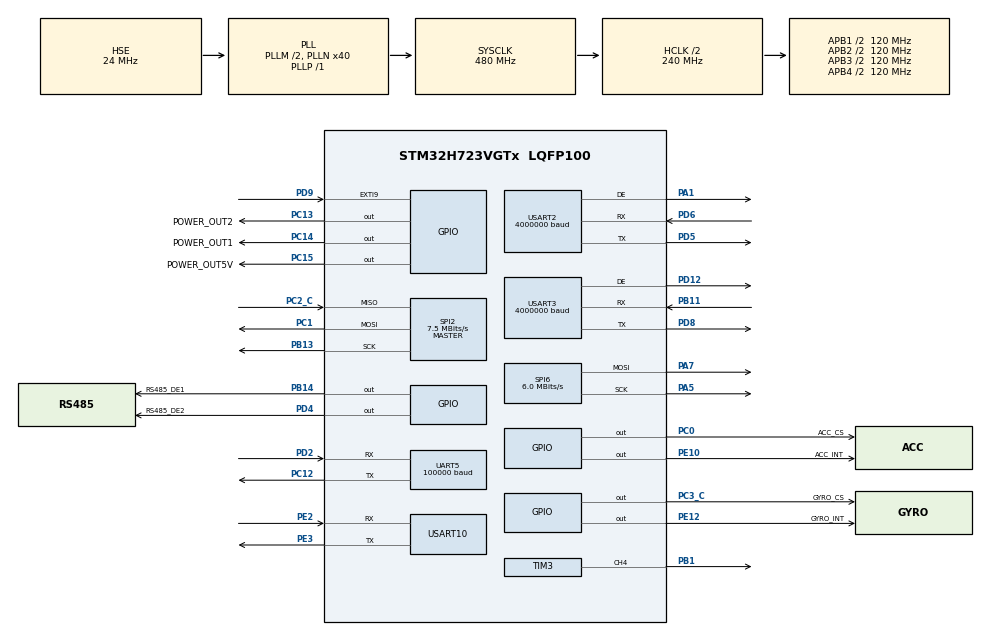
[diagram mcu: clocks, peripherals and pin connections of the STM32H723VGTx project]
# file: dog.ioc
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CORTEX_M7.default_mode_Activation=1
Dma.Request0=USART10_RX
Dma.Request1=SPI2_RX
Dma.Request2=SPI2_TX
Dma.Request3=UART5_RX
Dma.SPI2_RX.1.Direction=DMA_PERIPH_TO_MEMORY
Dma.SPI2_RX.1.EventEnable=DISABLE
Dma.SPI2_RX.1.FIFOMode=DMA_FIFOMODE_DISABLE
Dma.SPI2_RX.1.Instance=DMA1_Stream0
Dma.SPI2_RX.1.MemDataAlignment=DMA_MDATAALIGN_BYTE
Dma.SPI2_RX.1.MemInc=DMA_MINC_ENABLE
Dma.SPI2_RX.1.Mode=DMA_NORMAL
Dma.SPI2_RX.1.PeriphDataAlignment=DMA_PDATAALIGN_BYTE
Dma.SPI2_RX.1.PeriphInc=DMA_PINC_DISABLE
Dma.SPI2_RX.1.Polarity=HAL_DMAMUX_REQ_GEN_RISING
Dma.SPI2_RX.1.Priority=DMA_PRIORITY_VERY_HIGH
Dma.SPI2_RX.1.RequestNumber=1
Dma.SPI2_RX.1.SignalID=NONE
Dma.SPI2_RX.1.SyncEnable=DISABLE
Dma.SPI2_RX.1.SyncPolarity=HAL_DMAMUX_SYNC_NO_EVENT
Dma.SPI2_RX.1.SyncRequestNumber=1
Dma.SPI2_RX.1.SyncSignalID=NONE
Dma.SPI2_TX.2.Direction=DMA_MEMORY_TO_PERIPH
Dma.SPI2_TX.2.EventEnable=DISABLE
Dma.SPI2_TX.2.FIFOMode=DMA_FIFOMODE_DISABLE
Dma.SPI2_TX.2.Instance=DMA1_Stream1
Dma.SPI2_TX.2.MemDataAlignment=DMA_MDATAALIGN_BYTE
Dma.SPI2_TX.2.MemInc=DMA_MINC_ENABLE
Dma.SPI2_TX.2.Mode=DMA_NORMAL
Dma.SPI2_TX.2.PeriphDataAlignment=DMA_PDATAALIGN_BYTE
Dma.SPI2_TX.2.PeriphInc=DMA_PINC_DISABLE
Dma.SPI2_TX.2.Polarity=HAL_DMAMUX_REQ_GEN_RISING
Dma.SPI2_TX.2.Priority=DMA_PRIORITY_HIGH
Dma.SPI2_TX.2.RequestNumber=1
Dma.SPI2_TX.2.SignalID=NONE
Dma.SPI2_TX.2.SyncEnable=DISABLE
Dma.SPI2_TX.2.SyncPolarity=HAL_DMAMUX_SYNC_NO_EVENT
Dma.SPI2_TX.2.SyncRequestNumber=1
Dma.SPI2_TX.2.SyncSignalID=NONE
Dma.UART5_RX.3.Direction=DMA_PERIPH_TO_MEMORY
Dma.UART5_RX.3.EventEnable=DISABLE
Dma.UART5_RX.3.FIFOMode=DMA_FIFOMODE_DISABLE
Dma.UART5_RX.3.Instance=DMA1_Stream2
Dma.UART5_RX.3.MemDataAlignment=DMA_MDATAALIGN_BYTE
Dma.UART5_RX.3.MemInc=DMA_MINC_ENABLE
Dma.UART5_RX.3.Mode=DMA_CIRCULAR
Dma.UART5_RX.3.PeriphDataAlignment=DMA_PDATAALIGN_BYTE
Dma.UART5_RX.3.PeriphInc=DMA_PINC_DISABLE
Dma.UART5_RX.3.Polarity=HAL_DMAMUX_REQ_GEN_RISING
Dma.UART5_RX.3.Priority=DMA_PRIORITY_VERY_HIGH
Dma.UART5_RX.3.RequestNumber=1
Dma.UART5_RX.3.SignalID=NONE
Dma.UART5_RX.3.SyncEnable=DISABLE
Dma.UART5_RX.3.SyncPolarity=HAL_DMAMUX_SYNC_NO_EVENT
Dma.UART5_RX.3.SyncRequestNumber=1
Dma.UART5_RX.3.SyncSignalID=NONE
Dma.USART10_RX.0.Direction=DMA_PERIPH_TO_MEMORY
Dma.USART10_RX.0.EventEnable=DISABLE
Dma.USART10_RX.0.FIFOMode=DMA_FIFOMODE_DISABLE
Dma.USART10_RX.0.Instance=DMA1_Stream4
Dma.USART10_RX.0.MemDataAlignment=DMA_MDATAALIGN_BYTE
Dma.USART10_RX.0.MemInc=DMA_MINC_ENABLE
Dma.USART10_RX.0.Mode=DMA_NORMAL
Dma.USART10_RX.0.PeriphDataAlignment=DMA_PDATAALIGN_BYTE
Dma.USART10_RX.0.PeriphInc=DMA_PINC_DISABLE
Dma.USART10_RX.0.Polarity=HAL_DMAMUX_REQ_GEN_RISING
Dma.USART10_RX.0.Priority=DMA_PRIORITY_VERY_HIGH
Dma.USART10_RX.0.RequestNumber=1
Dma.USART10_RX.0.SignalID=NONE
Dma.USART10_RX.0.SyncEnable=DISABLE
Dma.USART10_RX.0.SyncPolarity=HAL_DMAMUX_SYNC_NO_EVENT
Dma.USART10_RX.0.SyncRequestNumber=1
Dma.USART10_RX.0.SyncSignalID=NONE
FREERTOS.BinarySemaphores01=imuBinarySem01,Static,imuBinarySem01ControlBlock,Available
FREERTOS.Tasks01=defaultTask,0,128,StartDefaultTask,Default,NULL,Dynamic,NULL,NULL;Motor_Task,2,128,FMotor_Task,As weak,NULL,Dynamic,NULL,NULL;IMU_Task,2,128,FIMU_Task,As weak,NULL,Static,IMU_TaskBuffer,IMU_TaskControlBlock;Start_Task,2,128,FStart_Task,As weak,NULL,Dynamic,NULL,NULL
Mcu.Family=STM32H7
Mcu.Name=STM32H723VGTx
Mcu.Package=LQFP100
NVIC.DMA1_Stream0_IRQn=true\:5\:0\:false\:false\:true\:true\:false\:true\:true
NVIC.DMA1_Stream1_IRQn=true\:5\:0\:false\:false\:true\:true\:false\:true\:true
NVIC.DMA1_Stream2_IRQn=true\:5\:0\:false\:false\:true\:true\:false\:true\:true
NVIC.DMA1_Stream4_IRQn=true\:5\:0\:false\:false\:true\:true\:false\:true\:true
NVIC.PriorityGroup=NVIC_PRIORITYGROUP_4
NVIC.SPI2_IRQn=true\:5\:0\:true\:false\:true\:true\:false\:true\:true
NVIC.TIM2_IRQn=true\:5\:0\:false\:false\:true\:true\:true\:true\:true
NVIC.TIM6_DAC_IRQn=true\:15\:0\:false\:false\:true\:false\:false\:true\:true
NVIC.TimeBase=TIM6_DAC_IRQn
NVIC.TimeBaseIP=TIM6
NVIC.UART5_IRQn=true\:5\:0\:false\:false\:true\:true\:true\:true\:true
NVIC.USART2_IRQn=true\:5\:0\:false\:false\:true\:true\:true\:true\:true
NVIC.USART3_IRQn=true\:5\:0\:false\:false\:true\:true\:false\:true\:true
PA1.Mode=Hardware Flow Control (RS485)
PA1.Signal=USART2_DE
PA13(JTMS/SWDIO).Mode=Serial_Wire
PA13(JTMS/SWDIO).Signal=DEBUG_JTMS-SWDIO
PA14(JTCK/SWCLK).Mode=Serial_Wire
PA14(JTCK/SWCLK).Signal=DEBUG_JTCK-SWCLK
PA5.GPIO_Speed=GPIO_SPEED_FREQ_VERY_HIGH
PA5.Mode=TX_Only_Simplex_Unidirect_Master
PA5.Signal=SPI6_SCK
PA7.GPIO_Speed=GPIO_SPEED_FREQ_VERY_HIGH
PA7.Mode=TX_Only_Simplex_Unidirect_Master
PA7.Signal=SPI6_MOSI
PB1.Signal=S_TIM3_CH4
PB11.Mode=Asynchronous
PB11.Signal=USART3_RX
PB13.GPIO_Speed=GPIO_SPEED_FREQ_VERY_HIGH
PB13.Mode=Full_Duplex_Master
PB13.Signal=SPI2_SCK
PB14.GPIO_Label=RS485_DE1
PB14.Signal=GPIO_Output
PC0.GPIO_Label=ACC_CS
PC0.Signal=GPIO_Output
PC1.GPIO_Speed=GPIO_SPEED_FREQ_VERY_HIGH
PC1.Mode=Full_Duplex_Master
PC1.Signal=SPI2_MOSI
PC12.Mode=Asynchronous
PC12.Signal=UART5_TX
PC13.GPIO_Label=POWER_OUT2
PC13.PinState=GPIO_PIN_SET
PC13.Signal=GPIO_Output
PC14-OSC32_IN.GPIO_Label=POWER_OUT1
PC14-OSC32_IN.PinState=GPIO_PIN_SET
PC14-OSC32_IN.Signal=GPIO_Output
PC15-OSC32_OUT.GPIO_Label=POWER_OUT5V
PC15-OSC32_OUT.PinState=GPIO_PIN_SET
PC15-OSC32_OUT.Signal=GPIO_Output
PC2_C.GPIO_Speed=GPIO_SPEED_FREQ_VERY_HIGH
PC2_C.Mode=Full_Duplex_Master
PC2_C.Signal=SPI2_MISO
PC3_C.GPIO_Label=GYRO_CS
PC3_C.Signal=GPIO_Output
PD12.Mode=Hardware Flow Control (RS485)
PD12.Signal=USART3_DE
PD2.Mode=Asynchronous
PD2.Signal=UART5_RX
PD4.GPIO_Label=RS485_DE2
PD4.Signal=GPIO_Output
PD5.Mode=Asynchronous
PD5.Signal=USART2_TX
PD6.Mode=Asynchronous
PD6.Signal=USART2_RX
PD8.Mode=Asynchronous
PD8.Signal=USART3_TX
PD9.Signal=GPXTI9
PE10.GPIO_Label=ACC_INT
PE10.Signal=GPIO_Output
PE12.GPIO_Label=GYRO_INT
PE12.Signal=GPIO_Output
PE2.Mode=Asynchronous
PE2.Signal=USART10_RX
PE3.Mode=Asynchronous
PE3.Signal=USART10_TX
PH0-OSC_IN.Mode=HSE-External-Oscillator
PH0-OSC_IN.Signal=RCC_OSC_IN
PH1-OSC_OUT.Mode=HSE-External-Oscillator
PH1-OSC_OUT.Signal=RCC_OSC_OUT
ProjectManager.HeapSize=0x200
ProjectManager.StackSize=0x400
ProjectManager.TargetToolchain=MDK-ARM V5.32
RCC.ADCFreq_Value=48375000
RCC.APB1Freq_Value=120000000
RCC.APB2Freq_Value=120000000
RCC.APB3Freq_Value=120000000
RCC.APB4Freq_Value=120000000
RCC.CortexFreq_Value=480000000
RCC.D1PPRE=RCC_APB3_DIV2
RCC.D2PPRE1=RCC_APB1_DIV2
RCC.D2PPRE2=RCC_APB2_DIV2
RCC.D3PPRE=RCC_APB4_DIV2
RCC.DIVM1=2
RCC.DIVN1=40
RCC.DIVP1=1
RCC.HCLKFreq_Value=240000000
RCC.HPRE=RCC_HCLK_DIV2
RCC.HSE_VALUE=24000000
RCC.PLL2FRACN=0
RCC.PLL3FRACN=0
RCC.PLLFRACN=0
RCC.PLLSourceVirtual=RCC_PLLSOURCE_HSE
RCC.SPI6CLockSelection=RCC_SPI6CLKSOURCE_HSE
RCC.SYSCLKFreq_VALUE=480000000
RCC.SYSCLKSource=RCC_SYSCLKSOURCE_PLLCLK
RCC.USBFreq_Value=240000000
SH.S_TIM3_CH4.0=TIM3_CH4,PWM Generation4 CH4
SPI2.BaudRatePrescaler=SPI_BAUDRATEPRESCALER_32
SPI2.CLKPhase=SPI_PHASE_2EDGE
SPI2.CLKPolarity=SPI_POLARITY_HIGH
SPI2.CalculateBaudRate=7.5 MBits/s
SPI2.DataSize=SPI_DATASIZE_8BIT
SPI2.Direction=SPI_DIRECTION_2LINES
SPI2.Mode=SPI_MODE_MASTER
SPI2.VirtualType=VM_MASTER
SPI6.BaudRatePrescaler=SPI_BAUDRATEPRESCALER_4
SPI6.CLKPhase=SPI_PHASE_2EDGE
SPI6.CLKPolarity=SPI_POLARITY_HIGH
SPI6.CalculateBaudRate=6.0 MBits/s
SPI6.DataSize=SPI_DATASIZE_8BIT
SPI6.Direction=SPI_DIRECTION_2LINES_TXONLY
SPI6.Mode=SPI_MODE_MASTER
SPI6.VirtualType=VM_MASTER
STMicroelectronics.X-CUBE-ALGOBUILD.1.4.0.LibraryCcDSPOoLibraryJjDSPOoLibrary=true
TIM2.AutoReloadPreload=TIM_AUTORELOAD_PRELOAD_ENABLE
TIM2.Period=9999
TIM2.Prescaler=23999
TIM3.AutoReloadPreload=TIM_AUTORELOAD_PRELOAD_ENABLE
TIM3.Channel-PWM\ Generation4\ CH4=TIM_CHANNEL_4
TIM3.Period=10000-1
TIM3.Prescaler=24-1
UART5.BaudRate=100000
UART5.Parity=PARITY_EVEN
UART5.StopBits=UART_STOPBITS_2
UART5.WordLength=WORDLENGTH_9B
USART10.VirtualMode=VM_ASYNC
USART2.BaudRate=4000000
USART2.VirtualMode-Asynchronous=VM_ASYNC
USART2.VirtualMode-Hardware\ Flow\ Control\ (RS485)=VM_ASYNC
USART3.BaudRate=4000000
USART3.VirtualMode-Asynchronous=VM_ASYNC
USART3.VirtualMode-Hardware\ Flow\ Control\ (RS485)=VM_ASYNC
VP_FREERTOS_VS_CMSIS_V1.Mode=CMSIS_V1
VP_MEMORYMAP_VS_MEMORYMAP.Mode=CurAppReg
VP_STMicroelectronics.X-CUBE-ALGOBUILD_VS_DSPOoLibraryJjLibrary_1.4.0_1.4.0.Mode=DSPOoLibraryJjLibrary
VP_SYS_VS_tim6.Mode=TIM6
VP_TIM2_VS_ClockSourceINT.Mode=Internal
board=custom

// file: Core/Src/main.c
/* USER CODE BEGIN Header */
/**
  ******************************************************************************
  * @file           : main.c
  * @brief          : Main program body
  ******************************************************************************
  * @attention
  *
  * Copyright (c) 2025 STMicroelectronics.
  * All rights reserved.
  *
  * This software is licensed under terms that can be found in the LICENSE file
  * in the root directory of this software component.
  * If no LICENSE file comes with this software, it is provided AS-IS.
  *
  ******************************************************************************
  */
/* USER CODE END Header */
#include "main.h"
#include "cmsis_os.h"
#include "dma.h"
#include "memorymap.h"
#include "spi.h"
#include "tim.h"
#include "usart.h"
#include "gpio.h"

/* USER CODE BEGIN Includes */
#include "BMI088driver.h"
#include "remote.h"
#include "ws2812.h"
#include "motor_ctr.h"
#include "cal.h"
#include "FreeRTOS.h"
#include "FreeRTOSConfig.h"
/* USER CODE END Includes */

void SystemClock_Config(void);
static void MPU_Config(void);
void MX_FREERTOS_Init(void);

int main(void)
{

  /* MPU Configuration--------------------------------------------------------*/
  MPU_Config();

  /* MCU Configuration--------------------------------------------------------*/

  /* Reset of all peripherals, Initializes the Flash interface and the Systick. */
  HAL_Init();

  /* Configure the system clock */
  SystemClock_Config();

  /* Initialize all configured peripherals */
  MX_GPIO_Init();
  MX_DMA_Init();
  MX_USART2_UART_Init();
  MX_USART3_UART_Init();
  MX_SPI2_Init();
  MX_TIM3_Init();
  MX_USART10_UART_Init();
  MX_UART5_Init();
  MX_SPI6_Init();
  MX_TIM2_Init();
  /* USER CODE BEGIN 2 */
	HAL_GPIO_WritePin(GPIOC,GPIO_PIN_14,GPIO_PIN_SET);
	HAL_GPIO_WritePin(GPIOC,GPIO_PIN_13,GPIO_PIN_SET);
	HAL_GPIO_WritePin(GPIOC, GPIO_PIN_15, GPIO_PIN_SET);
	BSP_USART_Init();
	HAL_TIM_Base_Start_IT(&htim2);
//	Motor_Init(&leg[0],&leg[1],&leg[2],&leg[3]);
  /* USER CODE END 2 */

  /* Call init function for freertos objects (in cmsis_os2.c) */
  MX_FREERTOS_Init();

  /* Start scheduler */
  osKernelStart();

  /* We should never get here as control is now taken by the scheduler */

  /* Infinite loop */
  while (1)
  {

  }
}

void SystemClock_Config(void)
{
  RCC_OscInitTypeDef RCC_OscInitStruct = {0};
  RCC_ClkInitTypeDef RCC_ClkInitStruct = {0};

  /** Supply configuration update enable
  */
  HAL_PWREx_ConfigSupply(PWR_LDO_SUPPLY);

  /** Configure the main internal regulator output voltage
  */
  __HAL_PWR_VOLTAGESCALING_CONFIG(PWR_REGULATOR_VOLTAGE_SCALE0);

  while(!__HAL_PWR_GET_FLAG(PWR_FLAG_VOSRDY)) {}

  /** Initializes the RCC Oscillators according to the specified parameters
  * in the RCC_OscInitTypeDef structure.
  */
  RCC_OscInitStruct.OscillatorType = RCC_OSCILLATORTYPE_HSE;
  RCC_OscInitStruct.HSEState = RCC_HSE_ON;
  RCC_OscInitStruct.PLL.PLLState = RCC_PLL_ON;
  RCC_OscInitStruct.PLL.PLLSource = RCC_PLLSOURCE_HSE;
  RCC_OscInitStruct.PLL.PLLM = 2;
  RCC_OscInitStruct.PLL.PLLN = 40;
  RCC_OscInitStruct.PLL.PLLP = 1;
  RCC_OscInitStruct.PLL.PLLQ = 2;
  RCC_OscInitStruct.PLL.PLLR = 2;
  RCC_OscInitStruct.PLL.PLLRGE = RCC_PLL1VCIRANGE_3;
  RCC_OscInitStruct.PLL.PLLVCOSEL = RCC_PLL1VCOWIDE;
  RCC_OscInitStruct.PLL.PLLFRACN = 0;
  if (HAL_RCC_OscConfig(&RCC_OscInitStruct) != HAL_OK)
  {
    Error_Handler();
  }

  /** Initializes the CPU, AHB and APB buses clocks
  */
  RCC_ClkInitStruct.ClockType = RCC_CLOCKTYPE_HCLK|RCC_CLOCKTYPE_SYSCLK
                              |RCC_CLOCKTYPE_PCLK1|RCC_CLOCKTYPE_PCLK2
                              |RCC_CLOCKTYPE_D3PCLK1|RCC_CLOCKTYPE_D1PCLK1;
  RCC_ClkInitStruct.SYSCLKSource = RCC_SYSCLKSOURCE_PLLCLK;
  RCC_ClkInitStruct.SYSCLKDivider = RCC_SYSCLK_DIV1;
  RCC_ClkInitStruct.AHBCLKDivider = RCC_HCLK_DIV2;
  RCC_ClkInitStruct.APB3CLKDivider = RCC_APB3_DIV2;
  RCC_ClkInitStruct.APB1CLKDivider = RCC_APB1_DIV2;
  RCC_ClkInitStruct.APB2CLKDivider = RCC_APB2_DIV2;
  RCC_ClkInitStruct.APB4CLKDivider = RCC_APB4_DIV2;

  if (HAL_RCC_ClockConfig(&RCC_ClkInitStruct, FLASH_LATENCY_3) != HAL_OK)
  {
    Error_Handler();
  }
}

/* USER CODE BEGIN 4 */
static uint8_t led_state = 0;
void FStart_Task(void const * argument)
{
//  vTaskDelete(&Motor_TaskHandle);
  for(;;)
  {
    Motor_Init(&leg[0],&leg[1],&leg[2],&leg[3]);
	vTaskDelay(10);
	if(Init_OK == 1){
		xTaskCreate(FMotor_Task, "Motor_Task", 128, NULL, tskIDLE_PRIORITY +3,NULL);
		vTaskDelete(NULL);
	}
  }
}
/* USER CODE END 4 */

 /* MPU Configuration */

void MPU_Config(void)
{
  MPU_Region_InitTypeDef MPU_InitStruct = {0};

  /* Disables the MPU */
  HAL_MPU_Disable();

  /** Initializes and configures the Region and the memory to be protected
  */
  MPU_InitStruct.Enable = MPU_REGION_ENABLE;
  MPU_InitStruct.Number = MPU_REGION_NUMBER0;
  MPU_InitStruct.BaseAddress = 0x0;
  MPU_InitStruct.Size = MPU_REGION_SIZE_4GB;
  MPU_InitStruct.SubRegionDisable = 0x87;
  MPU_InitStruct.TypeExtField = MPU_TEX_LEVEL0;
  MPU_InitStruct.AccessPermission = MPU_REGION_NO_ACCESS;
  MPU_InitStruct.DisableExec = MPU_INSTRUCTION_ACCESS_DISABLE;
  MPU_InitStruct.IsShareable = MPU_ACCESS_SHAREABLE;
  MPU_InitStruct.IsCacheable = MPU_ACCESS_NOT_CACHEABLE;
  MPU_InitStruct.IsBufferable = MPU_ACCESS_NOT_BUFFERABLE;

  HAL_MPU_ConfigRegion(&MPU_InitStruct);
  /* Enables the MPU */
  HAL_MPU_Enable(MPU_PRIVILEGED_DEFAULT);

}

void HAL_TIM_PeriodElapsedCallback(TIM_HandleTypeDef *htim)
{
  if (htim->Instance == TIM6) {
    HAL_IncTick();
  }
  /* USER CODE BEGIN Callback 1 */
	if (htim->Instance == TIM2) {
        if (led_state == 0) {
            WS2812_Ctrl(0, 255, 0);
            led_state = 1;
        } else {
            WS2812_Ctrl(0, 0, 0);
            led_state = 0;
        }
    }
  /* USER CODE END Callback 1 */
}

void Error_Handler(void)
{
  __disable_irq();
  while (1)
  {
  }
}

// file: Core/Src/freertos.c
/* USER CODE BEGIN Header */
/**
  ******************************************************************************
  * File Name          : freertos.c
  * Description        : Code for freertos applications
  ******************************************************************************
  * @attention
  *
  * Copyright (c) 2025 STMicroelectronics.
  * All rights reserved.
  *
  * This software is licensed under terms that can be found in the LICENSE file
  * in the root directory of this software component.
  * If no LICENSE file comes with this software, it is provided AS-IS.
  *
  ******************************************************************************
  */
/* USER CODE END Header */

#include "FreeRTOS.h"
#include "task.h"
#include "main.h"
#include "cmsis_os.h"

osThreadId defaultTaskHandle;
osThreadId Motor_TaskHandle;
osThreadId IMU_TaskHandle;
uint32_t IMU_TaskBuffer[ 128 ];
osStaticThreadDef_t IMU_TaskControlBlock;
osThreadId Start_TaskHandle;
osSemaphoreId imuBinarySem01Handle;
osStaticSemaphoreDef_t imuBinarySem01ControlBlock;

void StartDefaultTask(void const * argument);
void FMotor_Task(void* argument);
void FIMU_Task(void const * argument);
void FStart_Task(void const * argument);

void MX_FREERTOS_Init(void); /* (MISRA C 2004 rule 8.1) */

/* GetIdleTaskMemory prototype (linked to static allocation support) */
void vApplicationGetIdleTaskMemory( StaticTask_t **ppxIdleTaskTCBBuffer, StackType_t **ppxIdleTaskStackBuffer, uint32_t *pulIdleTaskStackSize );

/* USER CODE BEGIN GET_IDLE_TASK_MEMORY */
static StaticTask_t xIdleTaskTCBBuffer;
static StackType_t xIdleStack[configMINIMAL_STACK_SIZE];

void vApplicationGetIdleTaskMemory( StaticTask_t **ppxIdleTaskTCBBuffer, StackType_t **ppxIdleTaskStackBuffer, uint32_t *pulIdleTaskStackSize )
{
  *ppxIdleTaskTCBBuffer = &xIdleTaskTCBBuffer;
  *ppxIdleTaskStackBuffer = &xIdleStack[0];
  *pulIdleTaskStackSize = configMINIMAL_STACK_SIZE;
  /* place for user code */
}
/* USER CODE END GET_IDLE_TASK_MEMORY */

void MX_FREERTOS_Init(void) {

  /* Create the semaphores(s) */
  /* definition and creation of imuBinarySem01 */
  osSemaphoreStaticDef(imuBinarySem01, &imuBinarySem01ControlBlock);
  imuBinarySem01Handle = osSemaphoreCreate(osSemaphore(imuBinarySem01), 1);

  /* Create the thread(s) */
  /* definition and creation of defaultTask */
  osThreadDef(defaultTask, StartDefaultTask, osPriorityNormal, 0, 128);
  defaultTaskHandle = osThreadCreate(osThread(defaultTask), NULL);

  /* definition and creation of Motor_Task */
  osThreadDef(Motor_Task, FMotor_Task, osPriorityHigh, 0, 128);
  Motor_TaskHandle = osThreadCreate(osThread(Motor_Task), NULL);

  /* definition and creation of IMU_Task */
  osThreadStaticDef(IMU_Task, FIMU_Task, osPriorityHigh, 0, 128, IMU_TaskBuffer, &IMU_TaskControlBlock);
  IMU_TaskHandle = osThreadCreate(osThread(IMU_Task), NULL);

  /* definition and creation of Start_Task */
  osThreadDef(Start_Task, FStart_Task, osPriorityHigh, 0, 128);
  Start_TaskHandle = osThreadCreate(osThread(Start_Task), NULL);

}

void StartDefaultTask(void const * argument)
{
  for(;;)
  {
    osDelay(1);
  }
}

__weak void FMotor_Task(void* argument)
{
  for(;;)
  {
    osDelay(1);
  }
}

__weak void FIMU_Task(void const * argument)
{
  for(;;)
  {
    osDelay(1);
  }
}

__weak void FStart_Task(void const * argument)
{
  for(;;)
  {
    osDelay(1);
  }
}
